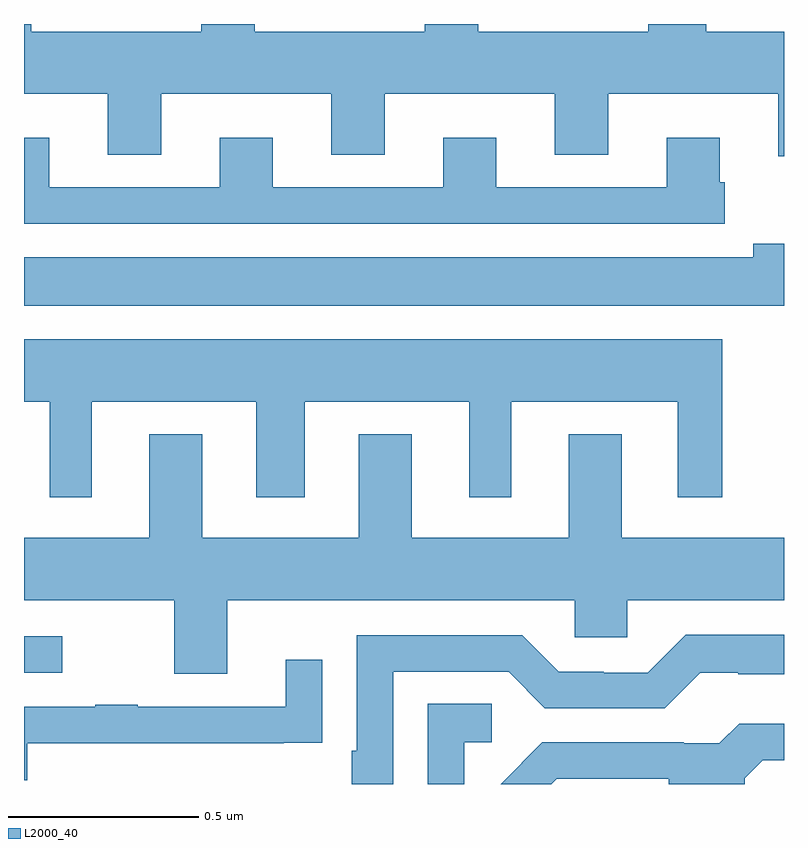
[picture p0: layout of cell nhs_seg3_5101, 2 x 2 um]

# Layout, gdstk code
import gdstk
lib = gdstk.Library(unit=1e-6, precision=1e-09)
def R(c, l, rs):  # rectangles x0, y0, x1, y1
    for r in rs: c.add(gdstk.rectangle(r[:2], r[2:], *l))
def P(c, l, *ps):  # polygons
    for p in ps: c.add(gdstk.Polygon(p, *l))
L2000_40 = (2000, 40)

nhs_seg3_5101 = lib.new_cell('nhs_seg3_5101')
R(nhs_seg3_5101, L2000_40, [(174,732.693,174.1,732.789)])
P(nhs_seg3_5101, L2000_40, [(176,734.38),(175.796,734.38),(175.796,734.4),(175.643,734.4),(175.643,734.38),(175.195,734.38),(175.195,734.4),(175.055,734.4),(175.055,734.38),(174.607,734.38),(174.607,734.4),(174.467,734.4),(174.467,734.38),(174.019,734.38),(174.019,734.4),(174,734.4),(174,734.216),(174.221,734.216),(174.221,734.056),(174.361,734.056),(174.361,734.216),(174.809,734.216),(174.809,734.056),(174.949,734.056),(174.949,734.216),(175.397,734.216),(175.397,734.056),(175.537,734.056),(175.537,734.216),(175.985,734.216),(175.985,734.052),(176,734.052)],
  [(175.844,733.983),(175.831,733.983),(175.831,734.101),(175.691,734.101),(175.691,733.971),(175.243,733.971),(175.243,734.101),(175.103,734.101),(175.103,733.971),(174.655,733.971),(174.655,734.101),(174.515,734.101),(174.515,733.971),(174.067,733.971),(174.067,734.101),(174,734.101),(174,733.875),(175.844,733.875)],
  [(176,733.822),(175.919,733.822),(175.919,733.786),(174,733.786),(174,733.658),(176,733.658)],
  [(174.178,733.406),(174.611,733.406),(174.611,733.155),(174.739,733.155),(174.739,733.406),(175.172,733.406),(175.172,733.155),(175.282,733.155),(175.282,733.406),(175.721,733.406),(175.721,733.155),(175.837,733.155),(175.837,733.57),(174,733.57),(174,733.406),(174.068,733.406),(174.068,733.155),(174.178,733.155)],
  [(174.535,732.884),(175.449,732.884),(175.449,732.786),(175.587,732.786),(175.587,732.884),(176,732.884),(176,733.048),(175.573,733.048),(175.573,733.321),(175.433,733.321),(175.433,733.048),(175.021,733.048),(175.021,733.321),(174.881,733.321),(174.881,733.048),(174.469,733.048),(174.469,733.321),(174.329,733.321),(174.329,733.048),(174,733.048),(174,732.884),(174.395,732.884),(174.395,732.69),(174.535,732.69)],
  [(174.972,732.696),(175.275,732.696),(175.371,732.6),(175.686,732.6),(175.779,732.693),(175.879,732.693),(175.879,732.689),(176,732.689),(176,732.793),(175.741,732.793),(175.641,732.693),(175.526,732.693),(175.526,732.696),(175.407,732.696),(175.311,732.792),(174.876,732.792),(174.876,732.487),(174.863,732.487),(174.863,732.4),(174.972,732.4)],
  [(174.008,732.507),(174.683,732.507),(174.683,732.508),(174.785,732.508),(174.785,732.727),(174.689,732.727),(174.689,732.603),(174.299,732.603),(174.299,732.608),(174.187,732.608),(174.187,732.603),(174,732.603),(174,732.41),(174.008,732.41)],
  [(175.158,732.51),(175.231,732.51),(175.231,732.611),(175.062,732.611),(175.062,732.4),(175.158,732.4)],
  [(175.402,732.414),(175.697,732.414),(175.697,732.4),(175.897,732.4),(175.897,732.415),(175.944,732.462),(176,732.462),(176,732.559),(175.882,732.559),(175.83,732.507),(175.736,732.507),(175.736,732.51),(175.364,732.51),(175.254,732.4),(175.388,732.4)])

lib.write_gds('nhs_seg3_5101.gds')
